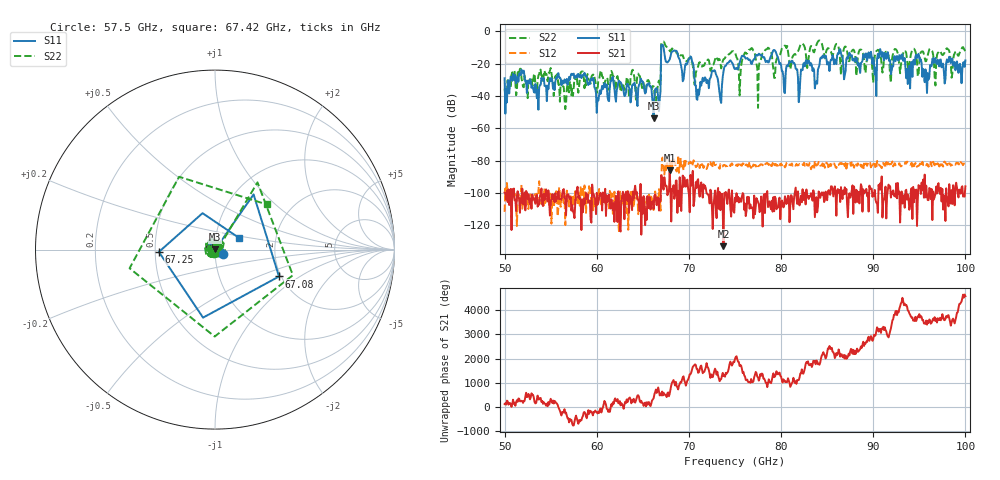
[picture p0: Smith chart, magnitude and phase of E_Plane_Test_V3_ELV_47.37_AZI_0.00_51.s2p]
! 11/26/2026 4:33:45 PM
! C:\ANRITSUVNA\TEMP\TEMP.S2P
! CHANNEL.1
! TR.MEASUREMENT
! RAW.DATA
# HZ S RI R 50.0
! FREQ.HZ  S11RE  S11IM  S21RE  S21IM  S12RE  S12IM  S22RE  S22IM
!; PortSelection: Port_12
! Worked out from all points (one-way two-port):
!   601 points, 50 GHz to 100 GHz, reference 50 ohm
!   highest |S21| = -85.96 dB at 67.92 GHz (marker M1); lowest = -133.0 dB at 73.75 GHz (marker M2)
!   lowest |S11| = -53.9 dB at 66.17 GHz (marker M3), VSWR 1.00, Z = 50.1 + j0.149 ohm
!   |S11| at or under -10 dB: start of sweep to 67 GHz; 67.25 GHz to end of sweep
!   |S22| runs from -48.1 to -5.6 dB; largest |S21 - S12| = 0.00015
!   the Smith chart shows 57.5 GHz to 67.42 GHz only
!   S11 on the Smith chart (normalised r, x): 57.5 GHz: 1.09, -0.05; 67.08 GHz: 1.95, -0.69; 67.25 GHz: 0.52, -0.01; 67.42 GHz: 1.29, +0.18
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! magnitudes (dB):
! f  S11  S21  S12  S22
! 50 GHz  -29.0  -99.7  -111.7  -35.4
! 57.5 GHz  -26.1  -112.5  -102.3  -34.6
! 58.42 GHz  -27.1  -104.5  -99.7  -24.8
! 60.17 GHz  -42.8  -106.4  -102.6  -30.3
! 66.17 GHz  -53.9  -109.9  -110.6  -34.0
! 66.67 GHz  -41.5  -102.9  -106.5  -31.6
! 67.08 GHz  -8.3  -91.0  -78.6  -6.8
! 67.25 GHz  -10.1  -98.0  -82.8  -6.2
! 67.42 GHz  -16.6  -94.4  -84.4  -8.3
! 67.92 GHz  -17.3  -86.0  -79.8  -12.0
! 70.25 GHz  -15.9  -95.5  -81.5  -18.7
! 70.92 GHz  -42.3  -92.4  -83.2  -23.2
! 73.75 GHz  -24.7  -133.0  -82.8  -17.2
! 75 GHz  -23.3  -103.0  -82.5  -13.0
! 77.58 GHz  -13.8  -107.1  -83.3  -21.7
! 78.5 GHz  -18.2  -98.8  -81.5  -10.8
! 79.33 GHz  -11.8  -102.4  -82.2  -28.8
! 80.25 GHz  -27.8  -109.0  -82.0  -9.4
! 83.42 GHz  -24.5  -104.8  -83.3  -10.8
! 91.67 GHz  -16.7  -94.9  -83.0  -15.2
! 95.83 GHz  -38.1  -101.7  -82.0  -16.5
! 100 GHz  -18.0  -95.9  -83.9  -12.5
